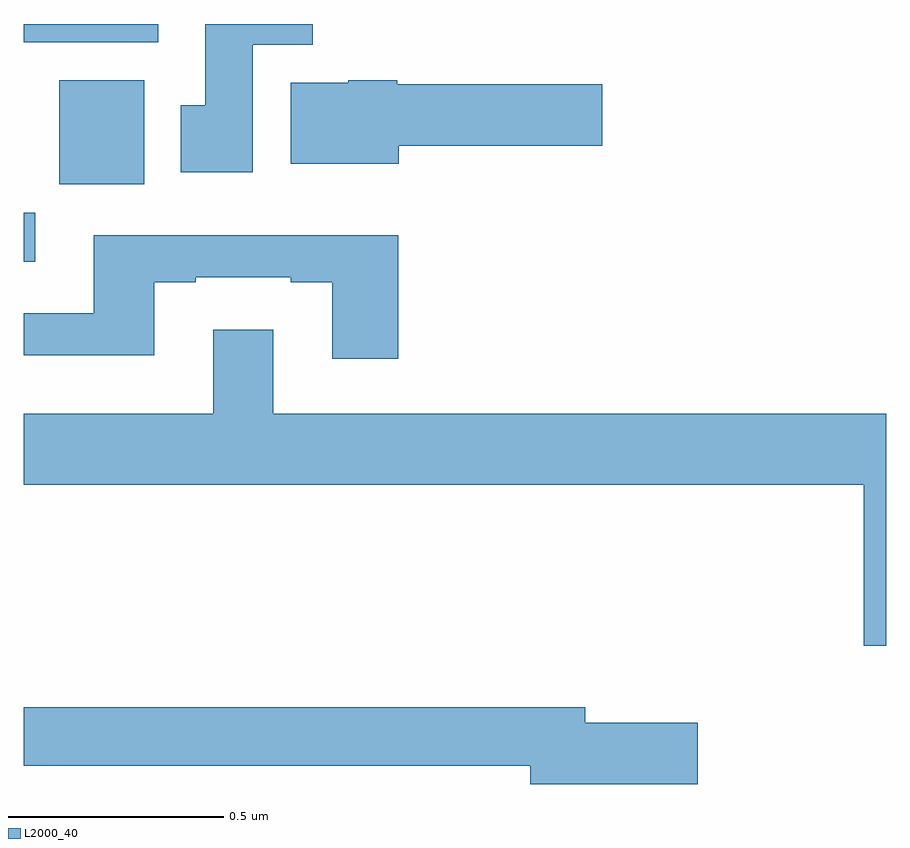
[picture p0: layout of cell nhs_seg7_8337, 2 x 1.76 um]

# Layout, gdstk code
import gdstk
lib = gdstk.Library(unit=1e-6, precision=1e-09)
def R(c, l, rs):  # rectangles x0, y0, x1, y1
    for r in rs: c.add(gdstk.rectangle(r[:2], r[2:], *l))
def P(c, l, *ps):  # polygons
    for p in ps: c.add(gdstk.Polygon(p, *l))
L2000_40 = (2000, 40)

nhs_seg7_8337 = lib.new_cell('nhs_seg7_8337')
R(nhs_seg7_8337, L2000_40, [(223,1018.449,223.027,1018.562), (223.082,1018.628,223.279,1018.87), (223,1018.958,223.312,1019)])
P(nhs_seg7_8337, L2000_40, [(223.531,1018.952),(223.67,1018.952),(223.67,1019),(223.421,1019),(223.421,1018.812),(223.364,1018.812),(223.364,1018.656),(223.531,1018.656)],
  [(223.87,1018.718),(224.341,1018.718),(224.341,1018.86),(223.866,1018.86),(223.866,1018.87),(223.752,1018.87),(223.752,1018.864),(223.619,1018.864),(223.619,1018.676),(223.87,1018.676)],
  [(223.868,1018.51),(223.163,1018.51),(223.163,1018.329),(223,1018.329),(223,1018.232),(223.303,1018.232),(223.303,1018.401),(223.399,1018.401),(223.399,1018.413),(223.619,1018.413),(223.619,1018.401),(223.715,1018.401),(223.715,1018.224),(223.868,1018.224)],
  [(225,1018.096),(223.579,1018.096),(223.579,1018.291),(223.439,1018.291),(223.439,1018.096),(223,1018.096),(223,1017.932),(224.948,1017.932),(224.948,1017.558),(225,1017.558)],
  [(224.563,1017.38),(224.302,1017.38),(224.302,1017.416),(223,1017.416),(223,1017.28),(224.174,1017.28),(224.174,1017.238),(224.563,1017.238)])

lib.write_gds('nhs_seg7_8337.gds')
